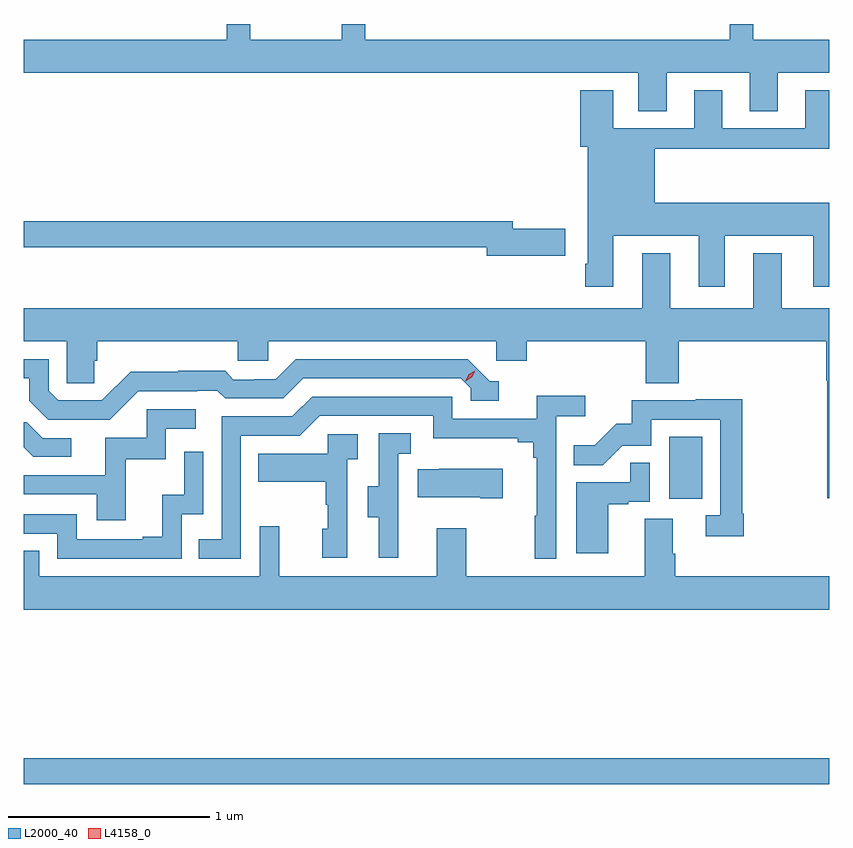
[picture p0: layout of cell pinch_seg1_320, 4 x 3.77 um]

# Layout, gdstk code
import gdstk
lib = gdstk.Library(unit=1e-6, precision=1e-09)
def R(c, l, rs):  # rectangles x0, y0, x1, y1
    for r in rs: c.add(gdstk.rectangle(r[:2], r[2:], *l))
def P(c, l, *ps):  # polygons
    for p in ps: c.add(gdstk.Polygon(p, *l))
L2000_40 = (2000, 40)
L4158_0 = (4158, 0)

pinch_seg1_320 = lib.new_cell('pinch_seg1_320')
R(pinch_seg1_320, L2000_40, [(1010.863,552.198,1014.863,552.326), (1014.068,553.614,1014.232,553.921)])
P(pinch_seg1_320, L2000_40, [(1014.055,555.728),(1014.467,555.728),(1014.467,555.538),(1014.607,555.538),(1014.607,555.728),(1014.863,555.728),(1014.863,555.892),(1014.485,555.892),(1014.485,555.97),(1014.367,555.97),(1014.367,555.892),(1012.559,555.892),(1012.559,555.97),(1012.442,555.97),(1012.442,555.892),(1011.989,555.892),(1011.989,555.97),(1011.871,555.97),(1011.871,555.892),(1010.863,555.892),(1010.863,555.728),(1013.915,555.728),(1013.915,555.538),(1014.055,555.538)],
  [(1013.791,554.918),(1014.215,554.918),(1014.215,554.667),(1014.343,554.667),(1014.343,554.918),(1014.782,554.918),(1014.782,554.667),(1014.863,554.667),(1014.863,555.082),(1013.995,555.082),(1013.995,555.352),(1014.863,555.352),(1014.863,555.64),(1014.743,555.64),(1014.743,555.453),(1014.331,555.453),(1014.331,555.64),(1014.191,555.64),(1014.191,555.453),(1013.791,555.453),(1013.791,555.64),(1013.627,555.64),(1013.627,555.36),(1013.663,555.36),(1013.663,554.779),(1013.651,554.779),(1013.651,554.667),(1013.791,554.667)],
  [(1013.551,554.954),(1013.29,554.954),(1013.29,554.99),(1010.863,554.99),(1010.863,554.862),(1013.162,554.862),(1013.162,554.819),(1013.551,554.819)],
  [(1014.863,554.56),(1014.625,554.56),(1014.625,554.833),(1014.485,554.833),(1014.485,554.56),(1014.073,554.56),(1014.073,554.833),(1013.933,554.833),(1013.933,554.56),(1010.863,554.56),(1010.863,554.396),(1011.078,554.396),(1011.078,554.188),(1011.215,554.188),(1011.215,554.298),(1011.23,554.298),(1011.23,554.396),(1011.927,554.396),(1011.927,554.298),(1012.077,554.298),(1012.077,554.396),(1013.208,554.396),(1013.208,554.298),(1013.36,554.298),(1013.36,554.396),(1013.951,554.396),(1013.951,554.188),(1014.116,554.188),(1014.116,554.396),(1014.848,554.396),(1014.848,554.2),(1014.853,554.2),(1014.853,553.617),(1014.863,553.617)],
  [(1011.432,554.148),(1011.725,554.148),(1011.725,554.151),(1011.824,554.151),(1011.863,554.112),(1012.152,554.112),(1012.251,554.211),(1013.034,554.211),(1013.082,554.163),(1013.082,554.1),(1013.221,554.1),(1013.221,554.196),(1013.178,554.196),(1013.067,554.307),(1012.214,554.307),(1012.115,554.208),(1012.008,554.208),(1012.008,554.205),(1011.905,554.205),(1011.863,554.248),(1011.63,554.248),(1011.63,554.245),(1011.394,554.245),(1011.252,554.103),(1011.036,554.103),(1010.988,554.151),(1010.988,554.307),(1010.863,554.307),(1010.863,554.211),(1010.891,554.211),(1010.891,554.101),(1010.985,554.007),(1011.291,554.007)],
  [(1011.942,553.926),(1012.233,553.926),(1012.332,554.025),(1012.896,554.025),(1012.896,553.913),(1013.315,553.913),(1013.315,553.894),(1013.392,553.894),(1013.392,553.817),(1013.411,553.817),(1013.411,553.529),(1013.4,553.529),(1013.4,553.317),(1013.508,553.317),(1013.508,554.024),(1013.65,554.024),(1013.65,554.126),(1013.411,554.126),(1013.411,554.01),(1012.992,554.01),(1012.992,554.121),(1012.295,554.121),(1012.196,554.022),(1011.846,554.022),(1011.846,553.413),(1011.733,553.413),(1011.733,553.317),(1011.942,553.317)],
  [(1014.437,553.54),(1014.43,553.54),(1014.43,554.108),(1014.199,554.108),(1014.199,554.103),(1013.881,554.103),(1013.881,553.986),(1013.804,553.986),(1013.697,553.879),(1013.593,553.879),(1013.593,553.78),(1013.737,553.78),(1013.835,553.878),(1013.979,553.878),(1013.979,554.007),(1014.321,554.007),(1014.321,553.533),(1014.249,553.533),(1014.249,553.428),(1014.437,553.428)],
  [(1011.371,553.809),(1011.57,553.809),(1011.57,553.962),(1011.718,553.962),(1011.718,554.058),(1011.474,554.058),(1011.474,553.917),(1011.269,553.917),(1011.269,553.731),(1010.863,553.731),(1010.863,553.635),(1011.227,553.635),(1011.227,553.506),(1011.371,553.506)],
  [(1011.1,553.914),(1010.958,553.914),(1010.878,553.994),(1010.863,553.994),(1010.863,553.87),(1010.912,553.821),(1011.1,553.821)],
  [(1012.724,553.533),(1012.722,553.533),(1012.722,553.837),(1012.786,553.837),(1012.786,553.94),(1012.626,553.94),(1012.626,553.677),(1012.571,553.677),(1012.571,553.522),(1012.625,553.522),(1012.625,553.32),(1012.724,553.32)],
  [(1012.47,553.811),(1012.522,553.811),(1012.522,553.935),(1012.374,553.935),(1012.374,553.837),(1012.027,553.837),(1012.027,553.697),(1012.362,553.697),(1012.362,553.583),(1012.372,553.583),(1012.372,553.464),(1012.346,553.464),(1012.346,553.32),(1012.47,553.32)],
  [(1011.648,553.536),(1011.756,553.536),(1011.756,553.846),(1011.66,553.846),(1011.66,553.634),(1011.551,553.634),(1011.551,553.426),(1011.455,553.426),(1011.455,553.413),(1011.126,553.413),(1011.126,553.536),(1010.863,553.536),(1010.863,553.44),(1011.03,553.44),(1011.03,553.317),(1011.648,553.317)],
  [(1013.764,553.587),(1013.864,553.587),(1013.864,553.599),(1013.97,553.599),(1013.97,553.793),(1013.875,553.793),(1013.875,553.695),(1013.606,553.695),(1013.606,553.344),(1013.764,553.344)],
  [(1013.242,553.762),(1012.927,553.762),(1012.927,553.759),(1012.819,553.759),(1012.819,553.622),(1013.129,553.622),(1013.129,553.615),(1013.242,553.615)],
  [(1014.863,553.228),(1014.098,553.228),(1014.098,553.34),(1014.085,553.34),(1014.085,553.514),(1013.945,553.514),(1013.945,553.228),(1013.061,553.228),(1013.061,553.468),(1012.913,553.468),(1012.913,553.228),(1012.133,553.228),(1012.133,553.477),(1012.035,553.477),(1012.035,553.228),(1010.94,553.228),(1010.94,553.355),(1010.863,553.355),(1010.863,553.064),(1014.863,553.064)])
P(pinch_seg1_320, L4158_0, [(1013.056,554.198),(1013.056,554.198),(1013.073,554.231),(1013.104,554.25),(1013.104,554.25),(1013.104,554.25),(1013.088,554.217),(1013.057,554.198)])

lib.write_gds('pinch_seg1_320.gds')
